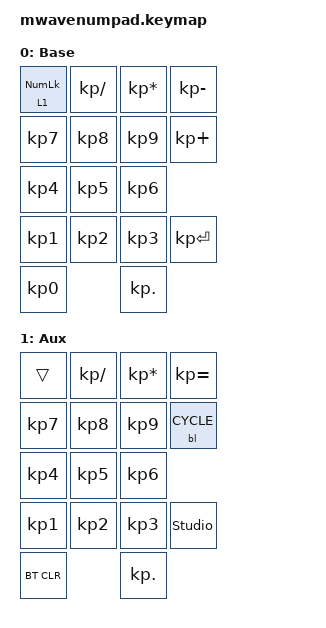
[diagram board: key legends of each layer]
#include <dt-bindings/advertising_mode.h>
#include <behaviors/advertising_mode.dtsi>
#include <behaviors/stp_indicators.dtsi>
#include "mwave_prim.dtsi"
#include "studio-macros.dtsi"
#include <behaviors.dtsi>
#include <dt-bindings/zmk/backlight.h>
#include <dt-bindings/zmk/bt.h>
#include <dt-bindings/zmk/keys.h>

&lt {
    tapping-term-ms = <500>;
};

/ {
    keymap {
        compatible = "zmk,keymap";

        Base {
            display-name = "Base";
            bindings = <
&lt 1 KP_NUMLOCK  &kp KP_SLASH  &kp KP_ASTERISK  &kp KP_SUBTRACT
&kp KP_N7         &kp KP_N8     &kp KP_N9        &kp KP_PLUS
&kp KP_N4         &kp KP_N5     &kp KP_N6
&kp KP_N1         &kp KP_N2     &kp KP_N3        &kp KP_ENTER
&kp KP_N0                       &kp KP_DOT
            >;
        };

        Fn {
            display-name = "Aux";
            bindings = <
&trans      &kp KP_SLASH  &kp KP_ASTERISK  &kp KP_EQUAL
&kp KP_N7   &kp KP_N8     &kp KP_N9        &bl BL_CYCLE
&kp KP_N4   &kp KP_N5     &kp KP_N6
&kp KP_N1   &kp KP_N2     &kp KP_N3        &studio_unlock
&bt BT_CLR                &kp KP_DOT
            >;
        };

        extra1 {
            display-name = "Blue";
            status = "reserved";
        };

        extra2 {
            display-name = "Green";
            status = "reserved";
        };

        extra3 {
            display-name = "Red";
            status = "reserved";
        };

        extra4 {
            display-name = "Purple";
            status = "reserved";
        };

        extra5 {
            display-name = "Cyan";
            status = "reserved";
        };

        extra6 {
            display-name = "Yellow";
            status = "reserved";
        };
    };
};
